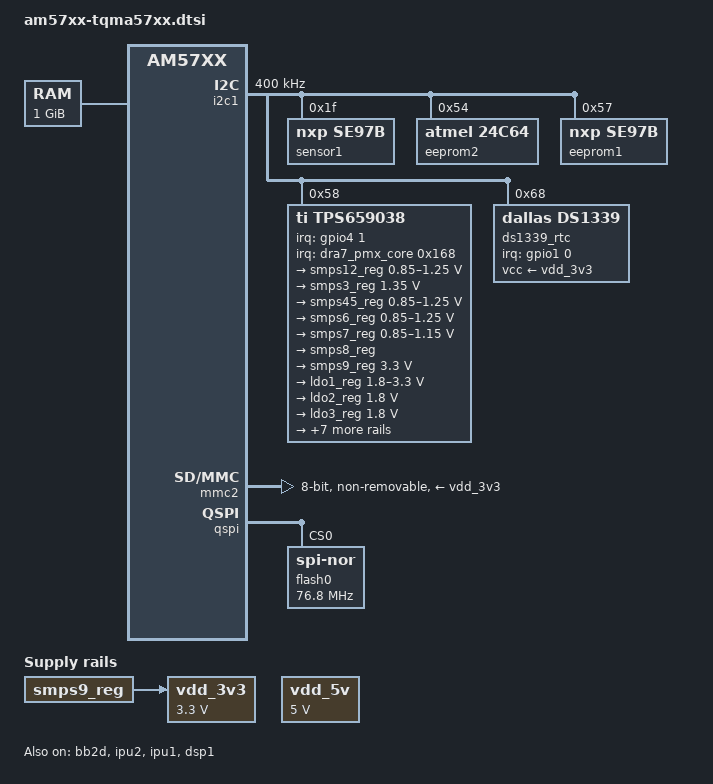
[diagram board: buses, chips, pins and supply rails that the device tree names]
// SPDX-License-Identifier: GPL-2.0-or-later OR MIT
/*
 * Device Tree file for TQ-Systems TQMa57xx SoM family.
 *
 * Copyright (c) 2020-2022 TQ-Systems GmbH <linux@ew.tq-group.com>, D-82229 Seefeld, Germany.
 * Author: Michael Krummsdorf, Matthias Schiffer
 */

#include "am57xx-industrial-grade.dtsi"
#include <dt-bindings/gpio/gpio.h>
#include <dt-bindings/interrupt-controller/irq.h>
#include "dra7-ipu-dsp-common.dtsi"

/ {
	aliases {
		mmc0 = &mmc2;
		rtc0 = &ds1339_rtc;
		rtc1 = &tps659038_rtc;
	};

	memory@80000000 {
		/* Default variant (1GB), adjusted by bootloader for other variants */
		device_type = "memory";
		reg = <0x0 0x80000000 0x0 0x40000000>;
	};

	reserved-memory {
		#address-cells = <2>;
		#size-cells = <2>;
		ranges;

		ipu2_memory_region: ipu2-memory@95800000 {
			compatible = "shared-dma-pool";
			reg = <0x0 0x95800000 0x0 0x3800000>;
			reusable;
		};

		dsp1_memory_region: dsp1-memory@99000000 {
			compatible = "shared-dma-pool";
			reg = <0x0 0x99000000 0x0 0x4000000>;
			reusable;
		};

		ipu1_memory_region: ipu1-memory@9d000000 {
			compatible = "shared-dma-pool";
			reg = <0x0 0x9d000000 0x0 0x2000000>;
			reusable;
		};
	};

	vdd_5v: regulator-vdd_5v {
		compatible = "regulator-fixed";
		regulator-name = "VDD5V";
		regulator-min-microvolt = <5000000>;
		regulator-max-microvolt = <5000000>;
		regulator-always-on;
		regulator-boot-on;
	};

	vdd_3v3: regulator-vdd_3v3 {
		compatible = "regulator-fixed";
		regulator-name = "VDD3V3";
		vin-supply = <&smps9_reg>;
		regulator-min-microvolt = <3300000>;
		regulator-max-microvolt = <3300000>;
		regulator-always-on;
		regulator-boot-on;
	};
};

&ocp {
	axi@1 {
		status = "okay";
	};
};

&i2c1 {
	clock-frequency = <400000>;
	status = "okay";

	/* NXP SE97BTP with temperature sensor + eeprom */
	sensor1: temperature-sensor@1f {
		compatible = "nxp,se97b", "jedec,jc-42.4-temp";
		reg = <0x1f>;
	};

	/* regular EEPROM */
	eeprom2: eeprom@54 {
		compatible = "atmel,24c64";
		pagesize = <32>;
		reg = <0x54>;
	};

	/* NXP SE97BTP with temperature sensor + eeprom */
	eeprom1: eeprom@57 {
		compatible = "nxp,se97b", "atmel,24c02";
		reg = <0x57>;
		pagesize = <16>;
		read-only;
	};

	tps659038: tps659038@58 {
		compatible = "ti,tps659038";
		reg = <0x58>;
		interrupts-extended = <&gpio4 1 IRQ_TYPE_LEVEL_HIGH
				       &dra7_pmx_core 0x168>;
		#interrupt-cells = <2>;
		interrupt-controller;
		ti,system-power-controller;
		ti,palmas-override-powerhold;

		tps659038_pmic {
			compatible = "ti,tps659038-pmic";
			smps12-in-supply = <&vdd_5v>;
			smps3-in-supply = <&vdd_5v>;
			smps45-in-supply = <&vdd_5v>;
			smps6-in-supply = <&vdd_5v>;
			smps7-in-supply = <&vdd_5v>;
			smps8-in-supply = <&vdd_5v>;
			smps9-in-supply = <&vdd_5v>;
			ldo1-in-supply = <&vdd_5v>;
			ldo2-in-supply = <&vdd_5v>;
			ldo3-in-supply = <&vdd_5v>;
			ldo4-in-supply = <&vdd_5v>;
			ldo9-in-supply = <&vdd_5v>;
			ldoln-in-supply = <&vdd_5v>;
			ldousb-in-supply = <&vdd_5v>;
			ldortc-in-supply = <&vdd_5v>;

			regulators {
				smps12_reg: smps12 {
					/* VDD_MPU */
					regulator-name = "smps12";
					regulator-min-microvolt = <850000>;
					regulator-max-microvolt = <1250000>;
					regulator-always-on;
					regulator-boot-on;
				};

				smps3_reg: smps3 {
					/* VDD_DDR EMIF1 EMIF2 */
					regulator-name = "smps3";
					regulator-min-microvolt = <1350000>;
					regulator-max-microvolt = <1350000>;
					regulator-always-on;
					regulator-boot-on;
				};

				smps45_reg: smps45 {
					/* VDD_DSPEVE on AM572 */
					/* VDD_IVA + VDD_DSP on AM571 */
					regulator-name = "smps45";
					regulator-min-microvolt = <850000>;
					regulator-max-microvolt = <1250000>;
					regulator-always-on;
					regulator-boot-on;
				};

				smps6_reg: smps6 {
					/* VDD_GPU */
					regulator-name = "smps6";
					regulator-min-microvolt = <850000>;
					regulator-max-microvolt = <1250000>;
					regulator-always-on;
					regulator-boot-on;
				};

				smps7_reg: smps7 {
					/* VDD_CORE */
					regulator-name = "smps7";
					regulator-min-microvolt = <850000>;
					regulator-max-microvolt = <1150000>;
					regulator-always-on;
					regulator-boot-on;
				};

				smps8_reg: smps8 {
					/* 5728 - VDD_IVAHD */
					/* 5718 - N.C. test point */
					regulator-name = "smps8";
				};

				smps9_reg: smps9 {
					/* VDD_3V3 */
					regulator-name = "smps9";
					regulator-min-microvolt = <3300000>;
					regulator-max-microvolt = <3300000>;
					regulator-always-on;
					regulator-boot-on;
				};

				ldo1_reg: ldo1 {
					/* VDDSHV8  */
					regulator-name = "ldo1";
					regulator-min-microvolt = <1800000>;
					regulator-max-microvolt = <3300000>;
					regulator-boot-on;
					regulator-always-on;
				};

				ldo2_reg: ldo2 {
					/* VDD1V8 */
					regulator-name = "ldo2";
					regulator-min-microvolt = <1800000>;
					regulator-max-microvolt = <1800000>;
					regulator-always-on;
					regulator-boot-on;
				};

				ldo3_reg: ldo3 {
					/* VDD1V8_PHY_USB_SATA */
					regulator-name = "ldo3";
					regulator-min-microvolt = <1800000>;
					regulator-max-microvolt = <1800000>;
					regulator-always-on;
					regulator-boot-on;
				};

				ldo4_reg: ldo4 {
					/* VDD1V8_PHY_HDMI_PCIE */
					regulator-name = "ldo4";
					regulator-min-microvolt = <1800000>;
					regulator-max-microvolt = <1800000>;
					regulator-always-on;
					regulator-boot-on;
				};

				/* LDO5-8 unused */

				ldo9_reg: ldo9 {
					/* VDD_RTC  */
					regulator-name = "ldo9";
					regulator-min-microvolt = <840000>;
					regulator-max-microvolt = <1160000>;
					regulator-always-on;
					regulator-boot-on;
				};

				ldoln_reg: ldoln {
					/* VDDA_1V8 */
					regulator-name = "ldoln";
					regulator-min-microvolt = <1800000>;
					regulator-max-microvolt = <1800000>;
					regulator-always-on;
					regulator-boot-on;
				};

				ldousb_reg: ldousb {
					/* VDDA_USB3V3 */
					regulator-name = "ldousb";
					regulator-min-microvolt = <3300000>;
					regulator-max-microvolt = <3300000>;
					regulator-always-on;
					regulator-boot-on;
				};

				ldortc_reg: ldortc {
					/* VDDA_RTC  */
					regulator-name = "ldortc";
					regulator-min-microvolt = <1800000>;
					regulator-max-microvolt = <1800000>;
					regulator-always-on;
					regulator-boot-on;
				};

				regen1: regen1 {
					/* VDD_3V3_ON */
					regulator-name = "regen1";
					regulator-boot-on;
					regulator-always-on;
				};

				regen2: regen2 {
					/* Needed for PMIC internal resource */
					regulator-name = "regen2";
					regulator-boot-on;
					regulator-always-on;
				};
			};
		};

		tps659038_rtc: tps659038_rtc {
			compatible = "ti,palmas-rtc";
			interrupt-parent = <&tps659038>;
			interrupts = <8 IRQ_TYPE_EDGE_FALLING>;
			wakeup-source;
		};

		tps659038_pwr_button: tps659038_pwr_button {
			compatible = "ti,palmas-pwrbutton";
			interrupt-parent = <&tps659038>;
			interrupts = <1 IRQ_TYPE_EDGE_FALLING>;
			wakeup-source;
			ti,palmas-long-press-seconds = <12>;
		};

		tps659038_gpio: tps659038_gpio {
			compatible = "ti,palmas-gpio";
			gpio-controller;
			#gpio-cells = <2>;
		};

		extcon_usb2: tps659038_usb {
			compatible = "ti,palmas-usb-vid";
			ti,enable-vbus-detection;
			ti,enable-id-detection;
			/* ID GPIO provided in baseboard dts */
		};
	};

	/* RTC */
	ds1339_rtc: rtc@68 {
		compatible = "dallas,ds1339";
		reg = <0x68>;
		interrupt-parent = <&gpio1>;
		interrupts = <0 IRQ_TYPE_EDGE_FALLING>;
		vcc-supply = <&vdd_3v3>;
		wakeup-source;
	};
};

&usb2_phy1 {
	phy-supply = <&ldousb_reg>;
};

&usb2_phy2 {
	phy-supply = <&ldousb_reg>;
};

/* eMMC */
&mmc2 {
	vqmmc-supply = <&ldo2_reg>; /* 1V8 */
	vmmc-supply = <&vdd_3v3>;
	bus-width = <8>;
	no-sd;
	no-sdio;
	non-removable;
	status = "okay";
};

&qspi {
	spi-max-frequency = <76800000>;
	status = "okay";

	flash0: flash@0 {
		compatible = "jedec,spi-nor";
		reg = <0>;
		spi-tx-bus-width = <1>;
		spi-rx-bus-width = <4>;
		spi-max-frequency = <76800000>;

		flash0_partitions: partitions {
			compatible = "fixed-partitions";
			#address-cells = <1>;
			#size-cells = <1>;
		};
	};
};

/* 2D BitBlt (BB2D) graphics accelerator */
&bb2d {
	status = "okay";
};

&cpu0 {
	vdd-supply = <&smps12_reg>;
};

&ipu2 {
	memory-region = <&ipu2_memory_region>;
	status = "okay";
};

&ipu1 {
	memory-region = <&ipu1_memory_region>;
	status = "okay";
};

&dsp1 {
	memory-region = <&dsp1_memory_region>;
	status = "okay";
};

&gpio1 {
	pinctrl-names = "default";
	pinctrl-0 = <&gpio1_pins>;
};

&rtctarget {
	status = "disabled";
};

&dra7_pmx_core {
	gpio1_pins: pinmux_gpio1_pins {
		pinctrl-single,pins = <
			DRA7XX_CORE_IOPAD(0x3818, MUX_MODE14 | PIN_INPUT | WAKEUP_EN) /* wakeup0.gpio1_0 */
		>;
	};
};
